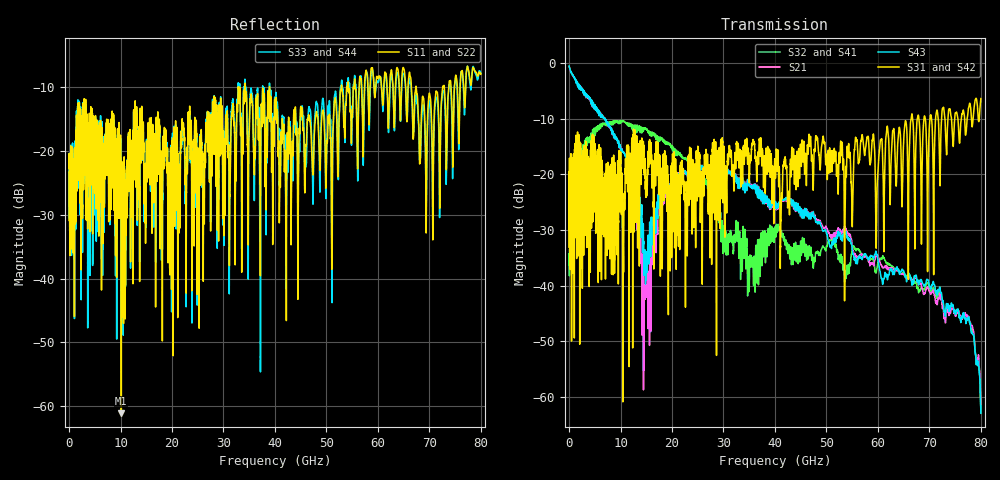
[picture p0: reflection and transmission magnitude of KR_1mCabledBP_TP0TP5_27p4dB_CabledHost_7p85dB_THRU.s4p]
!! Reference: shanbhag_3dj_02_2305.pdf
!! CHANNEL DESCRIPTION: TP0_TP5 KR Channel using 1meter Cabled BP, Cabled Host
!! CABLE DESCRIPTION: 1meter 26AWG Cable
!! MODEL STATUS: Developmental
!! PORT DEFINITIONS:
!! Port  1  ----->  Side A  Side B  <-----  Port  2
!! Port  3  ----->  Side A  Side B  <-----  Port  4
# HZ S MA R 50.000000
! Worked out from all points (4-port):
!   8000 points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, 10 MHz to 80 GHz, reference 50 ohm
!   strongest paths, dB at 10 MHz, 20.01 GHz, 40.01 GHz, 60.01 GHz, 80 GHz:
!     S31: -24.5, -20.9, -17.7, -19.4, -6.4
!     S42: -24.5, -20.9, -17.7, -19.4, -6.4
!     S43: -0.5, -22.7, -25.6, -35.5, -63.0
!     S21: -0.5, -23.2, -25.8, -34.9, -62.6
!     S32: -36.3, -15.2, -29.7, -35.6, -62.8
!     S41: -36.3, -15.2, -29.7, -35.6, -62.8
!   lowest |S11| = -61.1 dB at 10.15 GHz (marker M1), VSWR 1.00, Z = 50.1 - j0.055 ohm
!   |S11| at or under -10 dB: start of sweep to 32.86 GHz; 38.95 GHz to 52.89 GHz (13.94 GHz wide, 30.4 % of centre); 67.44 GHz to 72.56 GHz (5.125 GHz wide, 7.32 % of centre) (the widest 3 of 25)
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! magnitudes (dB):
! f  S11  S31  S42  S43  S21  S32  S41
! 10 MHz  -22.7  -24.5  -24.5  -0.5  -0.5  -36.3  -36.3
! 2.42 GHz  -18.7  -18.9  -18.9  -4.6  -4.6  -17.1  -17.1
! 10.15 GHz  -61.1  -26.5  -26.5  -15.4  -15.4  -10.3  -10.3
! 15.25 GHz  -20.8  -20.1  -20.1  -34.8  -37.4  -12.0  -12.0
! 30.93 GHz  -20.1  -18.3  -18.3  -19.2  -19.2  -32.2  -32.2
! 69.65 GHz  -14.6  -37.5  -37.5  -38.9  -40.2  -39.5  -39.5
! 80 GHz  -7.9  -6.4  -6.4  -63.0  -62.6  -62.8  -62.8
